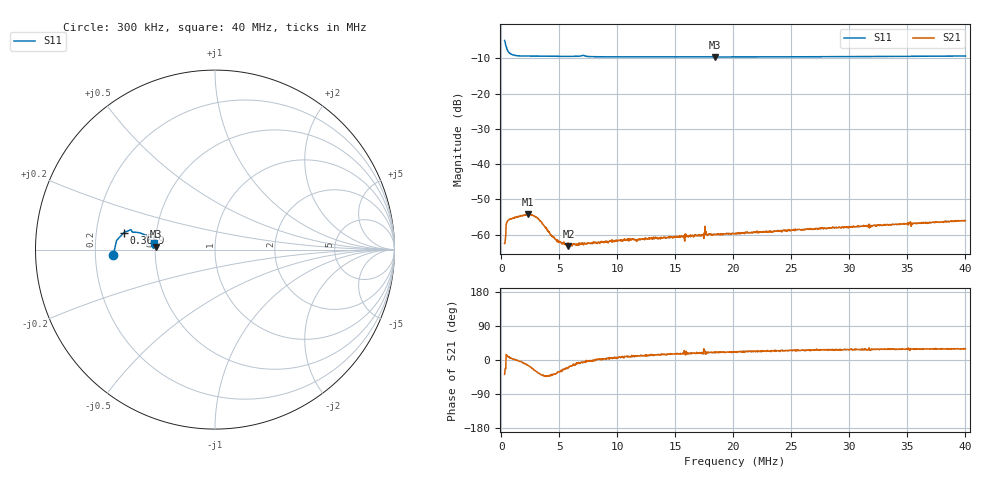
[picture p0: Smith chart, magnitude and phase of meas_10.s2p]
# HZ S RI R 50
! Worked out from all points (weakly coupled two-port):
!   1206 points, 300 kHz to 40 MHz, reference 50 ohm
!   highest |S21| = -54.29 dB at 2.31 MHz (marker M1); lowest = -63.3 dB at 5.802 MHz (marker M2)
!   lowest |S11| = -9.6 dB at 18.45 MHz (marker M3), VSWR 1.99, Z = 25.2 + j0.95 ohm
!   |S11| at or under -10 dB: nowhere
!   S12 and S22 are empty: the file has one direction only
!   S11 on the Smith chart (normalised r, x): 300 kHz: 0.28, -0.02; 365.9 kHz: 0.32, +0.08; 40 MHz: 0.49, +0.04
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300000  -0.5659 -0.0273  0.000585 -0.00046  0 0  0 0
365892  -0.5078 0.0945  0.000808 -0.000321  0 0  0 0
530622  -0.4067 0.0889  0.0015 0.000284  0 0  0 0
596514  -0.3888 0.0814  0.00157 0.000237  0 0  0 0
695352  -0.3727 0.071  0.00162 0.000184  0 0  0 0
1222488  -0.3446 0.0394  0.00176 3.66e-05  0 0  0 0
2309706  -0.3397 0.02  0.00187 -0.000475  0 0  0 0
2705058  -0.3397 0.0178  0.00172 -0.000719  0 0  0 0
3199248  -0.3396 0.0168  0.00137 -0.000922  0 0  0 0
4286466  -0.3382 0.0165  0.000737 -0.000638  0 0  0 0
4780656  -0.3372 0.016  0.000657 -0.000469  0 0  0 0
5801982  -0.3362 0.0149  0.000645 -0.000226  0 0  0 0
6922146  -0.342 0.00803  0.000728 -6.36e-05  0 0  0 0
1.123807e7  -0.3309 0.0165  0.000818 0.000175  0 0  0 0
1.354429e7  -0.3305 0.0174  0.000855 0.000222  0 0  0 0
1.726719e7  -0.3306 0.0196  0.000903 0.000327  0 0  0 0
1.769549e7  -0.3309 0.0197  0.000972 0.000318  0 0  0 0
1.845325e7  -0.3297 0.0168  0.00092 0.000377  0 0  0 0
2.016644e7  -0.3302 0.0179  0.000965 0.000356  0 0  0 0
2.678858e7  -0.332 0.0234  0.00106 0.000516  0 0  0 0
3.341073e7  -0.3358 0.0331  0.0012 0.000643  0 0  0 0
3.999993e7  -0.3389 0.0366  0.00136 0.000777  0 0  0 0
